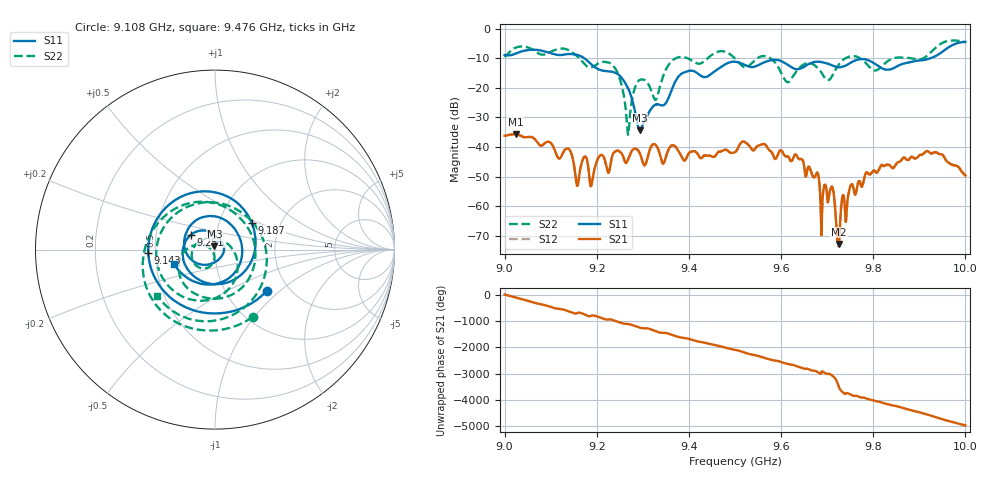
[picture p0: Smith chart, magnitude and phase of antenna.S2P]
!Agilent Technologies,E5071C,MY46418011,A.11.23
!Date: Mon Nov 13 13:36:28 2023
!Data & Calibration Information:
!Freq	S11:SOLT2(ON)	S21:SOLT2(ON)	S12:SOLT2(ON)	S22:SOLT2(ON)
!PortZ  Port1:50+j0  Port2:50+j0
!Above PortZ is port z conversion or system Z0 setting when saving the data.
!When reading, reference impedance value at option line is always used.
# Hz S dB R 50
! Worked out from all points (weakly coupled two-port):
!   1601 points, 9 GHz to 10 GHz, reference 50 ohm
!   highest |S21| = -35.66 dB at 9.024 GHz (marker M1); lowest = -72.8 dB at 9.726 GHz (marker M2)
!   lowest |S11| = -34.4 dB at 9.293 GHz (marker M3), VSWR 1.04, Z = 49.6 + j1.86 ohm
!   |S11| at or under -10 dB: 9.173 GHz to 9.925 GHz (752.3 MHz wide, 7.88 % of centre)
!   |S22| runs from -35.9 to -4.0 dB; largest |S21 - S12| = 0.00013
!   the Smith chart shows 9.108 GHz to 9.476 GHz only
!   S11 on the Smith chart (normalised r, x): 9.108 GHz: 1.55, -0.82; 9.143 GHz: 0.46, -0.02; 9.187 GHz: 1.43, +0.45; 9.251 GHz: 0.76, +0.13; 9.476 GHz: 0.62, -0.10
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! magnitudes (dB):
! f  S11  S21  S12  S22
! 9 GHz  -8.9  -36.2  -36.2  -9.6
! 9.024 GHz  -8.4  -35.7  -35.7  -6.4
! 9.108 GHz  -8.7  -40.8  -40.8  -7.3
! 9.143 GHz  -8.6  -41.5  -41.6  -7.7
! 9.157 GHz  -8.9  -53.0  -53.1  -9.3
! 9.167 GHz  -9.5  -45.6  -45.6  -10.8
! 9.187 GHz  -11.9  -53.3  -53.6  -13.2
! 9.251 GHz  -16.1  -41.7  -41.7  -17.3
! 9.268 GHz  -20.2  -44.1  -44.1  -35.9
! 9.293 GHz  -34.4  -42.0  -42.0  -17.4
! 9.334 GHz  -25.7  -40.9  -41.0  -21.6
! 9.369 GHz  -18.4  -39.6  -39.6  -10.3
! 9.476 GHz  -12.3  -41.0  -41.0  -7.7
! 9.5 GHz  -11.2  -41.8  -41.8  -10.1
! 9.614 GHz  -12.2  -43.2  -43.2  -18.1
! 9.667 GHz  -11.5  -49.1  -49.2  -11.9
! 9.688 GHz  -11.3  -66.8  -67.0  -15.0
! 9.711 GHz  -12.5  -53.5  -53.5  -16.1
! 9.726 GHz  -13.1  -72.8  -73.5  -12.1
! 9.751 GHz  -11.5  -52.9  -53.1  -9.4
! 9.834 GHz  -13.9  -46.0  -46.1  -10.8
! 10 GHz  -4.5  -49.7  -49.7  -4.7
